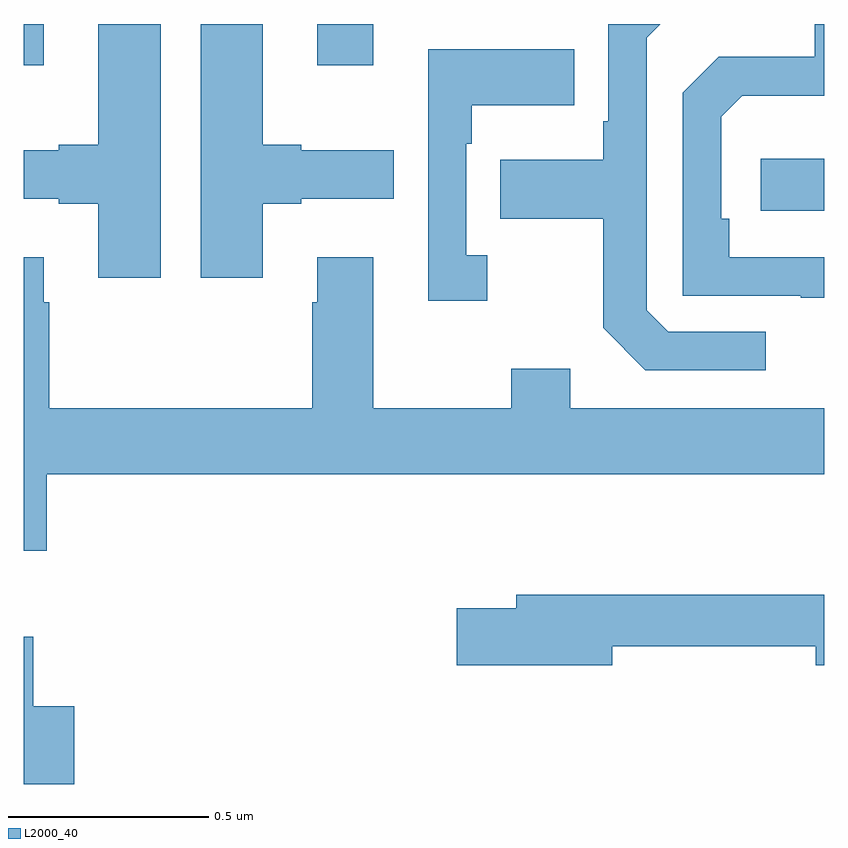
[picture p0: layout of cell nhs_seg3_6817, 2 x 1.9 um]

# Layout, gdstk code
import gdstk
lib = gdstk.Library(unit=1e-6, precision=1e-09)
def R(c, l, rs):  # rectangles x0, y0, x1, y1
    for r in rs: c.add(gdstk.rectangle(r[:2], r[2:], *l))
def P(c, l, *ps):  # polygons
    for p in ps: c.add(gdstk.Polygon(p, *l))
L2000_40 = (2000, 40)

nhs_seg3_6817 = lib.new_cell('nhs_seg3_6817')
R(nhs_seg3_6817, L2000_40, [(197.841,674.934,198,675.064), (196,675.297,196.051,675.4), (196.733,675.297,196.873,675.4)])
P(nhs_seg3_6817, L2000_40, [(196.597,674.951),(196.693,674.951),(196.693,674.963),(196.924,674.963),(196.924,675.085),(196.693,675.085),(196.693,675.098),(196.597,675.098),(196.597,675.4),(196.442,675.4),(196.442,674.766),(196.597,674.766)],
  [(198,674.817),(197.762,674.817),(197.762,674.914),(197.742,674.914),(197.742,675.168),(197.795,675.221),(198,675.221),(198,675.4),(197.976,675.4),(197.976,675.318),(197.736,675.318),(197.646,675.228),(197.646,674.721),(197.941,674.721),(197.941,674.716),(198,674.716)],
  [(197.854,674.631),(197.61,674.631),(197.556,674.685),(197.556,675.366),(197.59,675.4),(197.46,675.4),(197.46,675.157),(197.448,675.157),(197.448,675.061),(197.191,675.061),(197.191,674.914),(197.448,674.914),(197.448,674.641),(197.553,674.535),(197.854,674.535)],
  [(196.342,675.4),(196.187,675.4),(196.187,675.098),(196.088,675.098),(196.088,675.085),(196,675.085),(196,674.963),(196.088,674.963),(196.088,674.951),(196.187,674.951),(196.187,674.766),(196.342,674.766)],
  [(197.158,674.822),(197.106,674.822),(197.106,675.101),(197.119,675.101),(197.119,675.197),(197.375,675.197),(197.375,675.337),(197.01,675.337),(197.01,674.709),(197.158,674.709)],
  [(196.058,674.276),(198,674.276),(198,674.44),(197.365,674.44),(197.365,674.539),(197.218,674.539),(197.218,674.44),(196.873,674.44),(196.873,674.818),(196.733,674.818),(196.733,674.705),(196.721,674.705),(196.721,674.44),(196.064,674.44),(196.064,674.705),(196.051,674.705),(196.051,674.818),(196,674.818),(196,674.085),(196.058,674.085)],
  [(197.47,673.846),(197.978,673.846),(197.978,673.799),(198,673.799),(198,673.975),(197.231,673.975),(197.231,673.941),(197.082,673.941),(197.082,673.799),(197.47,673.799)],
  [(196.126,673.696),(196.024,673.696),(196.024,673.87),(196,673.87),(196,673.502),(196.126,673.502)])

lib.write_gds('nhs_seg3_6817.gds')
